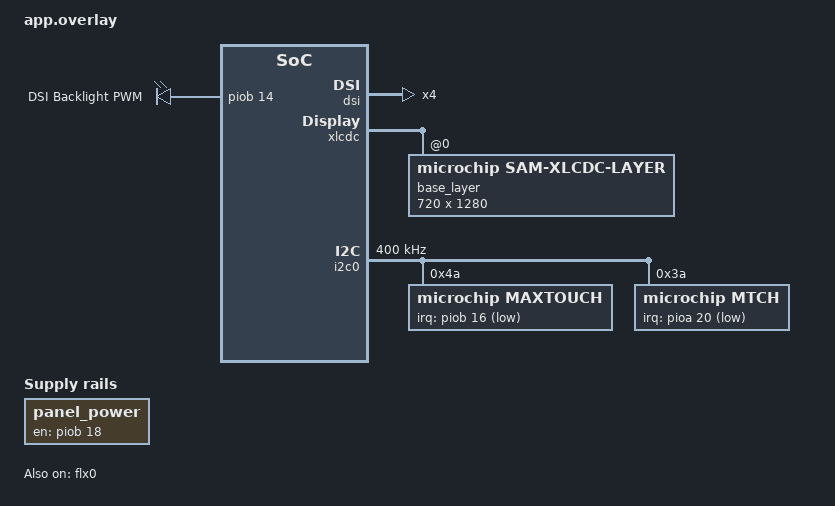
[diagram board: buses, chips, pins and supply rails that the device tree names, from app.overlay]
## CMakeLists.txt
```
# Application sources
#
# Structure:
#   src/main.c           - Entry point and main loop
#   src/ui/ui.c          - Static UI layouts (EDITOR REPLACEABLE)
#   src/ui_touch.c       - Dynamic touch indicators (must stay in C)
#   src/input_handlers.c - Hardware input callbacks (must stay in C)
#
# When migrating to LVGL Pro Editor:
#   1. Replace src/ui/ui.c and src/ui/ui.h with editor-generated code
#   2. Add any additional generated files below
#   3. Ensure widget names in generated code match those used in input_handlers.c

target_sources(app PRIVATE
    src/main.c
    src/ui/ui.c
    src/ui_touch.c
    src/input_handlers.c
)

target_include_directories(app PRIVATE src)
```

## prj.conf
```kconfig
# Project configuration for SAMA7D65 Curiosity with AC40T08A MIPI-DSI LCD
#
# This configuration replaces LVDSC with DSI for the MIPI display.
# Use with app_ac40t08a.overlay

# Enable Logging
CONFIG_LOG=y
CONFIG_DISPLAY_LOG_LEVEL_INF=y

# Enable Display Subsystem
CONFIG_DISPLAY=y

# Enable XLCDC driver
CONFIG_DISPLAY_MICROCHIP_SAM_XLCDC=y
CONFIG_DISPLAY_MICROCHIP_SAM_XLCDC_LAYER=y

# Enable DSI bridge driver (instead of LVDSC)
CONFIG_DISPLAY_MICROCHIP_SAM_DSI=y

# Kernel VM must cover heap (16MB) + kernel code/data/stacks
CONFIG_KERNEL_VM_SIZE=0x2000000

# Main thread stack for LVGL rendering (default is too small)
CONFIG_MAIN_STACK_SIZE=16384

# Enable double-buffering for tear-free display
CONFIG_MICROCHIP_SAM_XLCDC_DOUBLE_BUFFER=y

# Heap for dynamic framebuffer allocation
# AC40T08A: 720x1280 RGBA8888 x 2 buffers = ~7.4MB
CONFIG_HEAP_MEM_POOL_SIZE=8388608

# FLEXCOM MFD (sets FLEX_MR to TWI/SPI/USART mode)
CONFIG_MFD=y

# Panel power regulator (PB18 enable before touch init)
CONFIG_REGULATOR=y

# Input / Touch
CONFIG_INPUT=y
CONFIG_INPUT_MODE_SYNCHRONOUS=y

# Microchip MTCH driver
CONFIG_INPUT_MICROCHIP_MTCH=y
CONFIG_INPUT_MICROCHIP_MTCH_PERIOD_MS=5

# LVGL (zero-copy: LVGL owns buffers, driver pointer-swaps DMA address)
CONFIG_LVGL=y
CONFIG_LV_Z_FULL_REFRESH=y
CONFIG_LV_Z_VDB_SIZE=100
CONFIG_LV_Z_DOUBLE_VDB=y
CONFIG_LV_Z_FLUSH_THREAD=y
CONFIG_LV_Z_MEM_POOL_SIZE=1048576
CONFIG_LV_COLOR_DEPTH_32=y
CONFIG_LV_DPI_DEF=320
CONFIG_LV_FONT_MONTSERRAT_14=y
CONFIG_LV_FONT_MONTSERRAT_20=y
CONFIG_LV_FONT_MONTSERRAT_28=y
```

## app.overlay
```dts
/*
 * Device tree overlay for SAMA7D65 Curiosity with AC40T08A MIPI-DSI LCD
 *
 * The AC40T08A is a 4.0" 720x1280 MIPI-DSI LCD with HX8394-F controller
 * and integrated capacitive touch (MaxTouch).
 */

#include <zephyr/dt-bindings/gpio/gpio.h>
#include <zephyr/dt-bindings/interrupt-controller/arm-gic.h>
#include <zephyr/dt-bindings/i2c/i2c.h>
#include <zephyr/dt-bindings/mfd/mfd_mchp_sam_flexcom.h>

&pinctrl {
    flx0_i2c_default: flx0_i2c_default {
        group1 {
            pinmux = <PIN_PC7__FLEXCOM0_IO0>,  /* SDA */
                     <PIN_PC6__FLEXCOM0_IO1>;  /* SCL */
            bias-pull-up;
        };
    };
};

&flx0 {
    mchp,flexcom-mode = <SAM_FLEXCOM_MODE_TWI>;
    status = "okay";

    i2c0: i2c0@600 {
        pinctrl-0 = <&flx0_i2c_default>;
        pinctrl-names = "default";
        clock-frequency = <I2C_BITRATE_FAST>;
        status = "okay";

        maxtouch: maxtouch@4a {
            compatible = "microchip,maxtouch";
            reg = <0x4a>;
            irq-gpios = <&piob 16 GPIO_ACTIVE_LOW>;
            /* Match LVGL logical display dimensions (landscape) */
            screen-width = <1280>;
            screen-height = <720>;
            max-touches = <5>;
            startup-delay-ms = <100>;
            /* T100 orientation: transform physical portrait touch to
             * LVGL landscape coordinates. switch-xy swaps axes. */
            switch-xy;
            invert-x;
            invert-y;
        };

        mtch: mtch@3a {
            compatible = "microchip,mtch";
            reg = <0x3a>;
            irq-gpios = <&pioa 20 GPIO_ACTIVE_LOW>;
            startup-delay-ms = <100>;
            status = "okay";
        };
    };
};

/ {
    chosen {
        zephyr,display = &base_layer;
        zephyr,touch = &maxtouch;
    };

    panel_power: panel-power {
        compatible = "regulator-fixed";
        regulator-name = "panel-power";
        enable-gpios = <&piob 18 GPIO_ACTIVE_HIGH>;
        regulator-boot-on;
    };

    leds {
        compatible = "gpio-leds";

        gpio_dsi_pwm: led_piob_14 {
            gpios = <&piob 14 GPIO_ACTIVE_HIGH>;
            label = "DSI Backlight PWM";
        };
    };

    /*
     * MIPI-DSI Host Controller
     * Replaces LVDSC for MIPI-connected displays
     */
    dsi: dsi@e1404000 {
        compatible = "microchip,sam-dsi";
        status = "okay";
        reg = <0xe1404000 0x4000>;
        num-lanes = <4>;
        width = <720>;
        height = <1280>;
        bit-clock-khz = <456000>;
        panel-type = "hx8394f";

        /* D-PHY PLL configuration for 456 MHz bit clock */
        dphy-n-ratio = <3>;
        dphy-m-ratio = <57>;
        dphy-hsbrc = <44>;        /* 0x2C */
        dphy-vco-range = <2>;
        dphy-icpctrl = <5>;
        dphy-lpfctrl = <1>;

        /* Lane transition timings */
        clk-lp2hs-time = <73>;
        clk-hs2lp-time = <31>;
        dat-lp2hs-time = <59>;
        dat-hs2lp-time = <22>;

        display-timings {
            compatible = "zephyr,panel-timing";
            clock-frequency = <60226000>;
            hsync-len = <24>;
            hfront-porch = <12>;
            hback-porch = <12>;
            vsync-len = <1>;
            vfront-porch = <13>;
            vback-porch = <13>;
            de-active = <0>;
            hsync-active = <1>;
            vsync-active = <1>;
            pixelclk-active = <0>;
        };
    };

    /*
     * XLCDC - eXtended LCD Controller
     * Output routed to DSI instead of LVDSC
     */
    xlcdc: xlcdc@e1400000 {
        compatible = "microchip,sama7d65-xlcdc";
        status = "okay";
        reg = <0xe1400000 0x4000>;
        interrupt-parent = <&gic>;
        interrupts = <GIC_SPI 56 IRQ_TYPE_LEVEL IRQ_DEFAULT_PRIORITY>;
        #address-cells = <1>;
        #size-cells = <0>;
        width = <720>;
        height = <1280>;
        pixel-format = <12>;        /* ARGB_8888 */
        output-mode = "dpi-24";
        guard-time = <1>;
        backlight-pwm-source = "slow-clock";
        backlight-pwm-prescaler = <0>;
        backlight-brightness = <255>;
        port = <&dsi>;

        display-timings {
            compatible = "zephyr,panel-timing";
            clock-frequency = <60226000>;
            hsync-len = <24>;
            hfront-porch = <12>;
            hback-porch = <12>;
            vsync-len = <1>;
            vfront-porch = <13>;
            vback-porch = <13>;
            de-active = <0>;
            hsync-active = <1>;
            vsync-active = <1>;
            pixelclk-active = <0>;
        };

        base_layer: layer-base@0 {
            compatible = "microchip,sam-xlcdc-layer";
            reg = <0>;
            layer-type = "base";
            width = <720>;
            height = <1280>;
            default-color = <0 0 0>;
            no-alloc-framebuffer;
            rotation = <90>;  /* Rotate 90 degrees for landscape mode */
        };
    };
};
```

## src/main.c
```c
/*
 * Copyright (c) 2026 Microchip Technology Inc.
 * SPDX-License-Identifier: Apache-2.0
 *
 * LCDC POC application with three tabs:
 *   1. LVGL widget demo (button counter, arc, slider)
 *   2. Multitouch visualizer using raw input events
 *   3. MTCH demo (wheel, sliders, buttons)
 *
 * This main.c is kept minimal - UI creation is delegated to:
 *   - ui/ui.c: Static layouts (editor-replaceable)
 *   - ui_touch.c: Dynamic touch indicators (must stay in C)
 *   - input_handlers.c: Hardware input callbacks (must stay in C)
 */

#include <zephyr/device.h>
#include <zephyr/drivers/display.h>
#include <zephyr/drivers/gpio.h>
#include <zephyr/kernel.h>
#include <zephyr/logging/log.h>

#include <lvgl.h>

#include "ui/ui.h"
#include "ui_touch.h"
#include "input_handlers.h"
#include "../../drivers/input/microchip_mtch.h"

LOG_MODULE_REGISTER(main_app, LOG_LEVEL_INF);

static const struct gpio_dt_spec backlight_pwm =
	GPIO_DT_SPEC_GET(DT_NODELABEL(gpio_dsi_pwm), gpios);

#define TOUCH_DEV DEVICE_DT_GET(DT_CHOSEN(zephyr_touch))
#define MTCH_DEV  DEVICE_DT_GET(DT_NODELABEL(mtch))

int main(void)
{
	int ret;

	LOG_INF("Setting up GPIOs...");

	if (!gpio_is_ready_dt(&backlight_pwm)) {
		LOG_ERR("GPIO not ready");
		return -ENODEV;
	}

	ret = gpio_pin_configure_dt(&backlight_pwm, GPIO_OUTPUT_ACTIVE);
	if (ret < 0) {
		return ret;
	}

	LOG_INF("LCDC POC Demo");

	const struct device *display_dev =
		DEVICE_DT_GET(DT_CHOSEN(zephyr_display));

	if (!device_is_ready(display_dev)) {
		LOG_ERR("Display device not ready");
		return -ENODEV;
	}

	if (!device_is_ready(TOUCH_DEV)) {
		LOG_ERR("Touch device not ready");
		return -ENODEV;
	}

	/* Initialize static UI (editor-replaceable) */
	ui_init();
	LOG_INF("Static UI initialized");

	/* Configure MTCH UI based on detected sensor */
	if (device_is_ready(MTCH_DEV)) {
		struct mtch_sensor_caps caps;
		if (mtch_get_sensor_caps(MTCH_DEV, &caps) == 0) {
			struct ui_mtch_config ui_cfg = {
				.num_buttons = caps.num_buttons,
				.button_mask = caps.button_mask,
				.num_sliders = caps.num_sliders,
				.has_wheel = caps.has_wheel,
			};
			ui_mtch_configure(&ui_cfg);
			LOG_INF("MTCH UI configured: %d buttons (mask=0x%03X), %d sliders",
				caps.num_buttons, caps.button_mask, caps.num_sliders);
		}
	}

	/* Initialize dynamic touch tab (must stay in C) */
	ui_touch_init(ui_get_touch_tab());
	LOG_INF("Touch UI initialized");

	/* Initialize input handlers */
	input_handlers_init();

	display_blanking_off(display_dev);

	LOG_INF("Entering main loop");

	while (1) {
		/* Update dynamic UI elements */
		ui_touch_update();
		input_handlers_update_mtch_ui();

		/* Process LVGL tasks */
		lv_timer_handler();
		k_sleep(K_MSEC(LV_DEF_REFR_PERIOD));
	}

	return 0;
}
```
